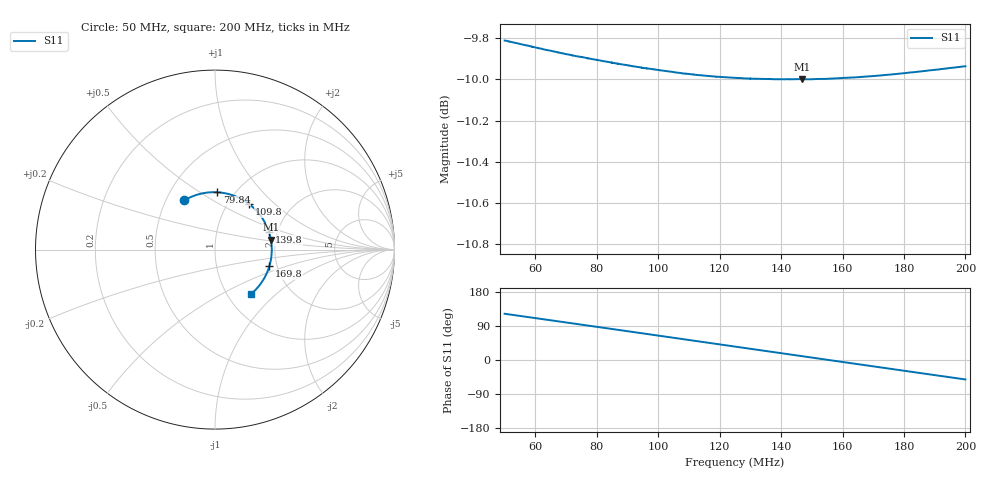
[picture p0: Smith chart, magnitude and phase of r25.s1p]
! COPPER MOUNTAIN TECHNOLOGIES, PLANAR TR1300/1, 00071119, 20.2.2/1.0
! Date: 11/21/2023 7:07:18 PM
! Data: Format [Calibration Info]
! Freq  S11: Re/Im F1
# HZ S RI R 50
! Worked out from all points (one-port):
!   12288 points, 50 MHz to 200 MHz, reference 50 ohm
!   lowest |S11| = -10.0 dB at 147 MHz (marker M1), VSWR 1.92, Z = 94.3 + j11.4 ohm
!   |S11| at or under -10 dB: 146.9565 MHz to 146.9729 MHz (16.31 kHz wide, 0.0111 % of centre); 147.0033 MHz to 147.0208 MHz (17.45 kHz wide, 0.0119 % of centre); 147.1625 MHz to 147.1644 MHz (1.955 kHz wide, 0.00133 % of centre)
!   S11 on the Smith chart (normalised r, x): 50 MHz: 0.62, +0.38; 79.84 MHz: 0.83, +0.59; 109.8 MHz: 1.25, +0.70; 139.8 MHz: 1.80, +0.40; 169.8 MHz: 1.82, -0.37; 200 MHz: 1.28, -0.71
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5e7  -0.1714 0.274
5.300317e7  -0.1545 0.2835
5.979084e7  -0.1143 0.301
6.440547e7  -0.0859 0.3097
6.875153e7  -0.0585 0.3155
7.447709e7  -0.0218 0.3195
7.983641e7  0.0127 0.3195
8.750305e7  0.0615 0.313
9.216652e7  0.0905 0.3054
9.686661e7  0.1189 0.2951
1.01469e8  0.1456 0.2824
1.062546e8  0.172 0.2668
1.097705e8  0.1904 0.2537
1.176202e8  0.2279 0.22
1.250061e8  0.258 0.1834
1.325385e8  0.2827 0.1419
1.397656e8  0.3003 0.0992
1.437576e8  0.3073 0.0746
1.469683e8  0.3115 0.0545
1.547815e8  0.3163 0.00471
1.625092e8  0.3134 -0.0446
1.698462e8  0.3036 -0.0905
1.754985e8  0.2916 -0.1246
1.812607e8  0.2755 -0.1577
1.862904e8  0.2584 -0.1849
1.91552e8  0.2377 -0.2113
1.967893e8  0.2145 -0.2353
2e8  0.1991 -0.2487
